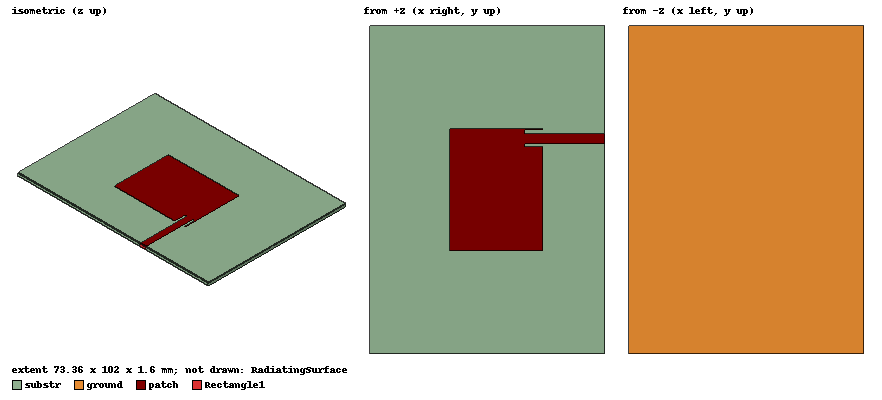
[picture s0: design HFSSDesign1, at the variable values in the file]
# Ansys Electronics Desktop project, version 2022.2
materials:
  vacuum: permittivity=1
  FR4_epoxy: permittivity=4.4 dielectric_loss_tangent=0.02
  copper: permeability=0.999991 conductivity=58000000

design HFSSDesign1 (HFSS, DrivenModal, model units mm)
options: Calculate_Lossy_Dielectrics
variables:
  lsub = 78.8mm
  wsub = 102mm
  hsub = 1.6mm
  lp = 29mm
  wp = 38mm
  wf = 3.1mm
  slot_h = 5.541mm  # optimise 2.5mm..7.5mm; tune 2.5mm..7.5mm
  slot_w = 1mm  # optimise 1.5mm..4.5mm; tune 1.5mm..4.5mm
  lf = 25mm
  x_dist = 10
  dist = 3mm
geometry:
  substr [FR4_epoxy] = box(corner=(-lsub/2, -wsub/2, 0mm), size=(lsub/2+lp/2+lf-slot_h, wsub, hsub))
  ground = rectangle(corner=(-lsub/2, -wsub/2, 0mm), x_size=lsub/2+lp/2+lf-slot_h, y_size=wsub)
  patch = rectangle(corner=(-lp/2, -wp/2, 1.6mm), x_size=lp, y_size=wp)
  inset1 = rectangle(corner=(lp/2, wp/2-wf/2-dist, hsub), x_size=-slot_h, y_size=-slot_w)
  inset2 = rectangle(corner=(lp/2, wp/2-dist+wf/2, hsub), x_size=-slot_h, y_size=slot_w)
  feed = rectangle(corner=(lp/2-slot_h, wp/2-wf/2-dist, hsub), x_size=lf, y_size=wf)
  patch.subtract(inset1, inset2)
  patch.unite(feed)
  Rectangle1 = rectangle(corner=(lp/2-slot_h+lf, wp/2-wf/2-dist, hsub), y_size=wf, z_size=-hsub)
  RadiatingSurface [vacuum] = region(absolute_offset=55.555556mm on all sides)
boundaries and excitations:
  FiniteCond1: Finite Conductivity Objects=patch UseMaterial Material=copper IsInternal
  FiniteCond2: Finite Conductivity Objects=ground UseMaterial Material=copper IsInternal
  Open1: Radiation Objects=RadiatingSurface
  1: Lumped Port Objects=Rectangle1 Modes{Mode1{IntLine{(33.959, 16, 1.6) -> (33.959, 16, 0)} CharImp=Zpi}} Impedance=50ohm
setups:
  Setup1: HfssDriven MultipleAdaptiveFreqsSetup{AdaptAt{Frequency=1.8GHz Delta=0.02} AdaptAt{Frequency=2.4GHz Delta=0.02}} MaximumPasses=10 MinimumPasses=5 MinimumConvergedPasses=2 PercentRefinement=30 BasisOrder=1 PortAccuracy=2 DrivenSolverType="Direct Solver" VariablesForDerivatives(slot_h, slot_w) VariableFlagsForDerivatives(1, 1)
    sweep Sweep: 1GHz to 3GHz step 0.1GHz; Type=Discrete SaveFields
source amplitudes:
  1:1: 1W 0deg
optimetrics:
  OptimizationSetup1: Optimization Optimizer="kDX ASO" AnalysisStopOptions{StopForNumIteration MaxNumIteration=32 MinNumIteration=10} CostFuncNormType=L2 Acceptable_Cost=0 Noise=0.0001 UpdateDesignWhenDone
    vary slot_h: Min=2.5mm Max=7.5mm MinStep=0.05mm MaxStep=0.5mm MinFocus=2.5mm MaxFocus=7.5mm start=5mm
    vary slot_w: Min=1.5mm Max=4.5mm MinStep=0.03mm MaxStep=0.3mm MinFocus=1.5mm MaxFocus=4.5mm start=3mm
    goal dB(S(1,1)) <= -10 weight 1 on Setup1 : Sweep at Freq 1.8GHz
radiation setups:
  3D: Infinite Sphere Theta=0deg..180deg step 2deg Phi=-180deg..180deg step 2deg
  Elevation: Infinite Sphere Theta=-180deg..180deg step 1deg Phi=0deg..90deg step 90deg
  Azimuth: Infinite Sphere Theta=90deg..90deg step 0deg Phi=-180deg..180deg step 1deg
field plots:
  Vector_Jsurf1, Vector_Jsurf2: Jsurf over patch.face(at (0, 0, 1.6)) on Setup1 : Sweep at Freq=1.8GHz Phase=0deg
  Vector_Jsurf3: Jsurf over patch.face(at (0, 0, 1.6)) on Setup1 : Sweep at Freq=1.9GHz Phase=0deg
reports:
  S Parameter Plot 10: dB(S(1,1)) vs Freq on Setup1 : Sweep [slot_h=5.541mm slot_w=4.5mm]
  S Parameter Plot 11: dB(S(1,1)) vs Freq on Setup1 : Sweep
  Gain Plot 1: dB(GainTotal) vs Freq on Setup1 : Sweep, 3D [Phi=0deg Theta=0deg]; markers m1 at 1.8GHz
  Gain Plot 2: dB(GainTotal) vs Phi, Theta on Setup1 : Sweep, 3D [Freq=1.8GHz]
  Gain Plot 3: dB(GainTotal) vs Phi, Theta on Setup1 : Sweep, 3D [Freq=2.7GHz]
  Gain Plot 4: dB(GainTotal) vs Phi, Theta on Setup1 : Sweep, 3D [Freq=2.4GHz]
  Gain Plot 5: dB(GainTotal) vs Phi, Theta on Setup1 : Sweep, 3D [Freq=2.7GHz]
  S Parameter Plot 12: dB(S(1,1)) vs Freq on Setup1 : Sweep [lf=all]
  Gain Plot 6: dB(GainTotal) vs Phi, Theta on Setup1 : Sweep, 3D [Freq=1.8GHz]
  S Parameter Plot 13: dB(S(1,1)) vs Freq on Setup1 : Sweep; markers m1 at 1.9GHz, m2 at 2.4GHz
  Gain Plot 7: dB(GainTotal) vs Freq on Setup1 : Sweep, 3D [Theta=0deg Phi=0deg]; markers m1 at 1.9GHz, m2 at 2.4GHz
  S Parameter Plot 14: dB(S(1,1)) vs Freq on Setup1 : Sweep [dist=all]; markers m1 at 1.9GHz, m2 at 2.4GHz
  Gain Plot 8: dB(GainTotal) vs Freq on Setup1 : Sweep, 3D [Phi=0deg Theta=0deg dist=4mm]; markers m1 at 1.9GHz, m2 at 2.4GHz, m3 at 1.8GHz, m4 at 1.8GHz, m5 at 1.8GHz
  S Parameter Plot 15: dB(S(1,1)) vs Freq on Setup1 : Sweep [dist=all]; markers m1 at 1.9GHz, m2 at 2.4GHz
  S Parameter Plot 16: dB(S(1,1)) vs Freq on Setup1 : Sweep [slot_w=all dist=all]
  S Parameter Plot 17: dB(S(1,1)) vs Freq on Setup1 : Sweep [slot_w=all x_dist=all dist=all]
  S Parameter Plot 18: dB(S(1,1)) vs Freq on Setup1 : Sweep [slot_h=all slot_w=all x_dist=all dist=all]
  Gain Plot 9: dB(GainTotal) vs Freq on Setup1 : Sweep, 3D [Phi=0deg Theta=0deg slot_h=6mm slot_w=all x_dist=all dist=all]; markers m1 at 1.9GHz, m2 at 2.4GHz
  S Parameter Plot 19: dB(S(1,1)) vs Freq on Setup1 : Sweep [slot_h=all slot_w=all lf=all x_dist=all dist=all]
  S Parameter Plot 20: dB(S(1,1)) vs Freq on Setup1 : Sweep [slot_h=all slot_w=all lf=all x_dist=all dist=all]; markers m1 at 1.9GHz, m2 at 2.4GHz, m3 at 2.4GHz
  S Parameter Plot 21: dB(S(1,1)) vs Freq on Setup1 : Sweep [slot_h=all slot_w=all lf=all x_dist=all dist=all]; markers MX1 at x=2.4018692e+09
  S Parameter Plot 22: dB(S(1,1)) vs Freq on Setup1 : Sweep [slot_h=5.541mm slot_w=1mm lf=all x_dist=all dist=all]
